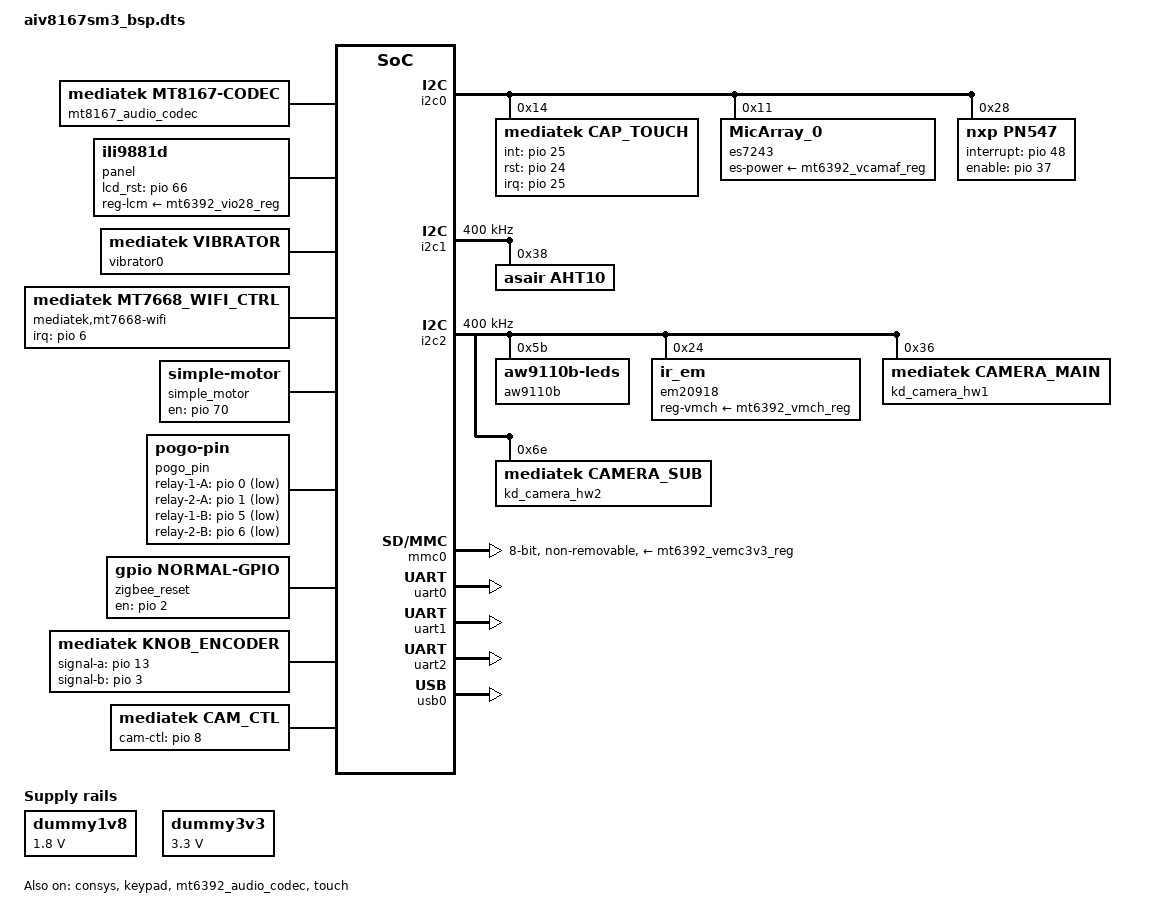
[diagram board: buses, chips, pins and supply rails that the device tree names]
/*
 * Copyright (c) 2014-2015 MediaTek Inc.
 *
 * This program is free software; you can redistribute it and/or modify
 * it under the terms of the GNU General Public License version 2 as
 * published by the Free Software Foundation.
 *
 * This program is distributed in the hope that it will be useful,
 * MERCHANTABILITY or FITNESS FOR A PARTICULAR PURPOSE.  See the
 * GNU General Public License for more details.
 */

#include <generated/autoconf.h>
/dts-v1/;

#ifdef CONFIG_MTK_DTBO_FEATURE
/plugin/;
#include <dt-bindings/clock/mt8167-clk.h>
#include <dt-bindings/interrupt-controller/irq.h>
#include <dt-bindings/leds/leds-aw9110b.h>
#include <dt-bindings/interrupt-controller/arm-gic.h>
#include "mt8167-pinfunc.h"
#define ROOT_NODE &odm
#else
#include "mt8167.dtsi"
#include "mt6392.dtsi"
#define ROOT_NODE /

#endif
#include "aiv8167sm3_bsp_bat_setting.dtsi"
#include <dt-bindings/gpio/gpio.h>

ROOT_NODE {
	dummy1v8: fixedregulator@0 {
		compatible = "regulator-fixed";
		regulator-name = "mmc_io";
		regulator-min-microvolt = <1800000>;
		regulator-max-microvolt = <1800000>;
		regulator-always-on;
	};

	dummy3v3: fixedregulator@1 {
		compatible = "regulator-fixed";
		regulator-name = "mmc_power";
		regulator-min-microvolt = <3300000>;
		regulator-max-microvolt = <3300000>;
		regulator-always-on;
	};

	mtcpufreq {
		compatible = "mediatek,mt8167-cpufreq";
	};

	mt8167_audio_codec: mt8167_audio_codec {
		compatible = "mediatek,mt8167-codec";
		clocks = <&topckgen CLK_TOP_AUDIO>;
		clock-names = "bus";
		mediatek,afe-regmap = <&afe>;
		mediatek,apmixedsys-regmap = <&apmixedsys>;
		mediatek,pwrap-regmap = <&pwrap>;
		mediatek,speaker-mode = <0>; /* 0(CLASSD) 1(CLASSAB) */
		mediatek,dmic-wire-mode = <1>; /* 0(ONE_WIRE) 1(TWO_WIRE) */
		mediatek,headphone-cap-sel = <1>; /* 0(10UF) 1(22UF) 2(33UF) 3(47UF) */
	};

	panel: panel@0 {
		compatible = "ili9881d";
		gpio_lcd_rst = <&pio 66 0>;
		reg-lcm-supply = <&mt6392_vio28_reg>;
		status = "okay";
	};

	sound: sound {
		compatible = "mediatek,mt8167-mt6392";
		mediatek,platform = <&afe>;
		mediatek,hp-spk-amp-warmup-time-us = <40000>;
		pinctrl-names = "default", "extamp_on", "extamp_off";
		pinctrl-0 = <&aud_pins_default>;
		pinctrl-1 = <&aud_pins_extamp_on>;
		pinctrl-2 = <&aud_pins_extamp_off>;
		status = "okay";
	};
	vibrator0:vibrator@0 {
		compatible = "mediatek,vibrator";
		vib_timer = <25>;
		vib_limit = <9>;
		vib_vol= <5>;
	};

	/* WiFi */
	mediatek,mt7668-wifi {
		compatible = "mediatek,mt7668_wifi_ctrl";
		interrupt-parent = <&pio>;
		interrupts = <6 IRQ_TYPE_EDGE_FALLING>, /* WOW IRQ */
				<5 IRQ_TYPE_EDGE_FALLING>; /* BEACON TSF IRQ */
		status = "okay";
	};

	simple_motor {
		compatible = "simple-motor";
		pinctrl-names = "default", "simple_motor";
		pinctrl-0 = <&motor_pins_default>;
		en-gpio = <&pio 70 GPIO_ACTIVE_HIGH>;
		status = "okay";
	};
	
	pogo_pin {
		compatible = "pogo-pin";

		pinctrl-names = "default", "pin_1A", "pin_2A", "pin_1B", "pin_2B";
		pinctrl-0 = <&pogo_pins_default>;
		pinctrl-1 = <&pogo_pin_1A>;
		pinctrl-2 = <&pogo_pin_2A>;
		pinctrl-3 = <&pogo_pin_1B>;
		pinctrl-4 = <&pogo_pin_2B>;

		relay-1-A-gpio = <&pio 0 GPIO_ACTIVE_LOW>;
		relay-2-A-gpio = <&pio 1 GPIO_ACTIVE_LOW>;
		relay-1-B-gpio = <&pio 5 GPIO_ACTIVE_LOW>;
		relay-2-B-gpio = <&pio 6 GPIO_ACTIVE_LOW>;
		status = "okay";
	};

	zigbee_reset {
		status = "okay";
		compatible = "gpio,normal-gpio";
		pinctrl-names = "default", "zigbee-reset";
		pinctrl-0 = <&zigbee_pins_default>;
		en-gpio = <&pio 2 GPIO_ACTIVE_HIGH>;
		cname = "zigbee";
	};
    
	knob_encoder:knob_encoder@0 {
		compatible = "mediatek,knob_encoder";
		pinctrl-names = "default";
		pinctrl-0 = <&kno_pins_default>;
		signal-a-gpio = <&pio 13 GPIO_SINGLE_ENDED>;
		signal-b-gpio = <&pio 3 GPIO_SINGLE_ENDED>;
	};

	cam_ctl:cam_ctl@0 {
		compatible = "mediatek,cam_ctl";
		cam-ctl-gpio = <&pio 8 GPIO_SINGLE_ENDED>;
	};

	mediatek_m_hmdy_pl {
		compatible = "mediatek,m_hmdy_pl";
	};

	mediatek_humidity {
		compatible = "mediatek,humidity";
	};

	mediatek_alsps {
		compatible = "mediatek,als_ps";
	};

};

&afe {
	/* 0(HDMI) 1(I2S) 2(TDM) */
	mediatek,tdm-out-mode = <0>;
	/*0(Spearated Mode) 1(Share Mode)*/
	mediatek,i2s-clock-modes = <1 1>;
	/*overwrite original sram layout*/
	reg = <0 0x11140000 0 0x1000>,
	      <0 0x11141000 0 0x9000>,
	      <0 0x100000 0 0xdc00>;
};

&consys {
	pinctrl-names = "default", "gps_lna_state_init", "gps_lna_state_oh", "gps_lna_state_ol";
	pinctrl-0 = <&consys_pins_default>;
	pinctrl-1 = <&gpslna_pins_init>;
	pinctrl-2 = <&gpslna_pins_oh>;
	pinctrl-3 = <&gpslna_pins_ol>;
	vcn18-supply = <&mt6392_vcn18_reg>;
	vcn35-supply = <&mt6392_vcn35_reg>;
	status = "okay";
};

&cpu0 {
	proc-supply = <&mt6392_vproc_reg>;
};

&cpu1 {
	proc-supply = <&mt6392_vproc_reg>;
};

&cpu2 {
	proc-supply = <&mt6392_vproc_reg>;
};

&cpu3 {
	proc-supply = <&mt6392_vproc_reg>;
};

&fstab {
	vendor {
		compatible = "android,vendor";
		dev = "/dev/block/platform/soc/11120000.mmc/by-name/vendor";
		type = "ext4";
		mnt_flags = "ro";
		fsmgr_flags = "wait,verify";
	};
};

&i2c0 {
	clock-div = <2>;
	pinctrl-names = "default";
	pinctrl-0 = <&i2c0_pins_a>;
	status = "okay";

	cap_touch@14 {
		compatible = "mediatek,cap_touch";
		reg = <0x14>;
		interrupt-parent = <&pio>;
		interrupts = <25 IRQ_TYPE_EDGE_FALLING>;
		int-gpio = <&pio 25 0>;
		rst-gpio = <&pio 24 0>;
	};

	es7243@11 {
		compatible = "MicArray_0";
		reg = <0x11>;
		es-power-supply = <&mt6392_vcamaf_reg>;
		pinctrl-names = "default", "mclk_high", "mclk_low";
		pinctrl-0 = <&tdm_mclk_default>;
		pinctrl-1 = <&tdm_mclk_high>;
		pinctrl-2 = <&tdm_mclk_low>;
	};

	pn547@28 {
		compatible = "nxp,pn547";
		status = "okay";
		reg = <0x28>;
		interrupt-gpios = <&pio 48 0>;
		enable-gpios = <&pio 37 0>;
	};

};

&i2c1 {
	clock-div = <2>;
	pinctrl-names = "default";
	pinctrl-0 = <&i2c1_pins_a>;
	status = "okay";
	clock-frequency = <400000>;

	aht10@38 {
		compatible              = "asair,aht10";
		i2c_num					= <2>;
		i2c_addr				= <0x38 0 0 0>;
		reg                     = <0x38>;
		is_batch_supported_hmdy = <0>;
		is_batch_supported_temp = <0>;
 	};
};

&i2c2 {
	clock-div = <2>;
	pinctrl-names = "default";
	pinctrl-0 = <&i2c2_pins_a>;
	status = "okay";
	clock-frequency = <400000>;

	aw9110b: aw9110b@5b {
		compatible = "aw9110b-leds";
		gpio_out_drv = <AW9110B_TOTEM_POLE>;
		reg = <0x5b>;
		#address-cells = <1>;
		#size-cells = <0>;
		status = "okay";

		led1: led@1 {
				label = "led_cam_g";
				reg = <1>;
				flags = <AW_MAKE_FLAGS(AW_GROUPB, AW_OUT0, AW_MODE_LED, 255)>;
				led-max-microamp = <10000>;
				linux,default-trigger = "default-on";
		};

		led2: led@2 {
				label = "led_cam_r";
				reg = <2>;
				flags = <AW_MAKE_FLAGS(AW_GROUPB, AW_OUT1, AW_MODE_LED, 255)>;
				led-max-microamp = <10000>;
				linux,default-trigger = "default-on";
		};

		led3: led@3 {
				label = "led_cam_b";
				reg = <3>;
				flags = <AW_MAKE_FLAGS(AW_GROUPB, AW_OUT2, AW_MODE_LED, 255)>;
				led-max-microamp = <10000>;
				linux,default-trigger = "default-on";
		};

		led4: led@4 {
				label = "led_knob_r";
				reg = <4>;
				flags = <AW_MAKE_FLAGS(AW_GROUPB, AW_OUT3, AW_MODE_LED, 255)>;
				led-max-microamp = <10000>;
				linux,default-trigger = "default-on";
		};

		led5: led@5 {
				label = "led_knob_g";
				reg = <5>;
				flags = <AW_MAKE_FLAGS(AW_GROUPA, AW_OUT4, AW_MODE_LED, 255)>;
				led-max-microamp = <10000>;
				linux,default-trigger = "default-on";
		};

		led6: led@6 {
				label = "led_knob_b";
				reg = <6>;
				flags = <AW_MAKE_FLAGS(AW_GROUPA, AW_OUT5, AW_MODE_LED, 255)>;
				led-max-microamp = <10000>;
				linux,default-trigger = "default-on";
		};

		led7: led@7 {
				label = "led_key1";
				reg = <7>;
				flags = <AW_MAKE_FLAGS(AW_GROUPA, AW_OUT6, AW_MODE_LED, 255)>;
				led-max-microamp = <10000>;
				linux,default-trigger = "default-on";
		};

		led8: led@8 {
				label = "led_key2";
				reg = <8>;
				flags = <AW_MAKE_FLAGS(AW_GROUPA, AW_OUT7, AW_MODE_LED, 255)>;
				led-max-microamp = <10000>;
				linux,default-trigger = "default-on";
		};

		led9: led@9 {
				label = "led_key3";
				reg = <9>;
				flags = <AW_MAKE_FLAGS(AW_GROUPA, AW_OUT8, AW_MODE_LED, 255)>;
				led-max-microamp = <10000>;
				linux,default-trigger = "default-on";
		};

		led10: led@10 {
				label = "led_key4";
				reg = <10>;
				flags = <AW_MAKE_FLAGS(AW_GROUPA, AW_OUT9, AW_MODE_LED, 255)>;
				led-max-microamp = <10000>;
				linux,default-trigger = "default-on";
		};

	};
	    
	em20918@24 {
		compatible				= "ir_em";
		reg-vmch-supply = <&mt6392_vmch_reg>;
		i2c_num					= <3>;
		i2c_addr				= <0x24 0 0 0>;
		reg                     = <0x24>;
		polling_mode_ps			= <1>;
		polling_mode_als		= <1>;
		is_batch_supported_ps	= <0>;
		is_batch_supported_als	= <0>;
		};
	
   	kd_camera_hw1@36 {
		compatible = "mediatek,camera_main";
		reg = <0x36>;
	};

	kd_camera_hw2@6e {
		compatible = "mediatek,camera_sub";
		reg = <0x6e>;
	};

};

/* Main Cam */
&kd_camera_hw1 {
	reg-vcama-supply = <&mt6392_vcama_reg>;		/* AVDD */
	reg-vcamd-supply = <&mt6392_vcamd_reg>;		/* DVDD */
	reg-vcamio-supply = <&mt6392_vcamio_reg>;	/* DOVDD */
	//reg-vcamaf-supply = <&mt6392_vcamaf_reg>;	/* AFVDD */
};

/* Sub Cam */
/* Same power pins as Main, actually, it can be commented */
&kd_camera_hw2 {
	reg-vcama-supply = <&mt6392_vcama_reg>;		/* AVDD */
	reg-vcamd-supply = <&mt6392_vcamd_reg>;		/* DVDD */
	reg-vcamio-supply = <&mt6392_vcamio_reg>;	/* DOVDD */
	//reg-vcamaf-supply = <&mt6392_vcamaf_reg>;	/* AFVDD */
	
	cam1_rst = <&pio 40 1>;
	cam1_pdn = <&pio 68 0>;
};

&keypad {
	pinctrl-names = "default";
	pinctrl-0 = <&kpd_pins_default>;
	status = "okay";
	mediatek,kpd-key-debounce = <1024>;
	mediatek,kpd-sw-pwrkey = <116>;
	mediatek,kpd-hw-pwrkey = <8>;
	mediatek,kpd-sw-rstkey  = <0>;
	mediatek,kpd-hw-rstkey = <17>;
	mediatek,kpd-use-extend-type = <0>;
	/*HW Keycode [0~71] -> Linux Keycode*/
	mediatek,kpd-hw-map-num = <72>;
	mediatek,kpd-hw-init-map = <115 102 0 0 0 0 0 0 0 0 0 0 0 0 0 0 0 0 0 0 0 0 0 0
			0 0 0 0 0 0 0 0 0 0 0 0 0 0 0 0 0 0 0 0 0 0 0 0
			0 0 0 0 0 0 0 0 0 0 0 0 0 0 0 0 0 0 0 0 0 0 0 0 >;
	mediatek,kpd-pwrkey-eint-gpio = <0>;
	mediatek,kpd-pwkey-gpio-din  = <0>;
	mediatek,kpd-hw-dl-key0 = <0>;
	mediatek,kpd-hw-dl-key1 = <17>;
	mediatek,kpd-hw-dl-key2 = <8>;
	mediatek,kpd-hw-recovery-key = <17>;
	mediatek,kpd-hw-factory-key  = <0>;
};

&mmc0 {
	pinctrl-names = "default", "state_uhs";
	pinctrl-0 = <&mmc0_pins_default>;
	pinctrl-1 = <&mmc0_pins_uhs>;
	status = "okay";
	bus-width = <8>;
	max-frequency = <200000000>;
	cap-mmc-highspeed;
	mmc-hs200-1_8v;
	cap-mmc-hw-reset;
	vmmc-supply = <&mt6392_vemc3v3_reg>;
	vqmmc-supply = <&mt6392_vio18_reg>;
	non-removable;
};

&mt6392_audio_codec {
	mediatek,speaker-mode = <0>; /* 0(CLASSD) 1(CLASSAB) */
	status = "okay";
};

&mt6392_vm_reg {
       regulator-always-on;
       regulator-boot-on;
};

&pio {
	pinctrl-names = "default";
	pinctrl-0 = <&state_default>;

	state_default:pinconf_default {
	};

	kno_pins_default:kno_pins_default {
		pins_cmd_dat {
			pinmux = <MT8167_PIN_3_EINT3__FUNC_GPIO3>,
			<MT8167_PIN_13_EINT13__FUNC_GPIO13>;
			bias-pull-up;
		};
	};

	pogo_pins_default: pogo {
		pins_cmd_dat {
			pinmux = <MT8167_PIN_0_EINT0__FUNC_GPIO0>,
			<MT8167_PIN_1_EINT1__FUNC_GPIO1>,
			<MT8167_PIN_5_EINT5__FUNC_GPIO5>,
			<MT8167_PIN_6_EINT6__FUNC_GPIO6>;
		};
	};
	
	pogo_pin_1A: pin1A {
		pins_cmd_dat {
			pins = <MT8167_PIN_0_EINT0__FUNC_GPIO0>;
		};
	};

	pogo_pin_2A: pin2A {
		pins_cmd_dat {
			pins = <MT8167_PIN_1_EINT1__FUNC_GPIO1>;
		};
	}; 

	pogo_pin_1B: pin1B {
		pins_cmd_dat {
			pins = <MT8167_PIN_5_EINT5__FUNC_GPIO5>;
		};
	};

	pogo_pin_2B: pin2B {
		pins_cmd_dat {
			pins = <MT8167_PIN_6_EINT6__FUNC_GPIO6>;
		};
	};

	motor_pins_default: motor {
		pins_cmd_dat {
			pins = <MT8167_PIN_70_MSDC2_DAT0__FUNC_GPIO70>;
		};
	};
	
	zigbee_pins_default: zigbee {
		pins_cmd_dat {
			pins = <MT8167_PIN_2_EINT2__FUNC_GPIO2>;
		};
	};
	
	aud_pins_default: audiodefault {
			pins_extamp_default {
			pins = <MT8167_PIN_51_SPI_MO__FUNC_GPIO51>;
			slew-rate = <1>;
			output-low;
		};
	};

	aud_pins_extamp_on: audexampon {
	pins_cmd_dat {
			pins = <MT8167_PIN_51_SPI_MO__FUNC_GPIO51>;/**/
			slew-rate = <1>;
			output-high;
		};
	};

	aud_pins_extamp_off: audexampoff {
	pins_cmd_dat {
			pins = <MT8167_PIN_51_SPI_MO__FUNC_GPIO51>;/**/
			slew-rate = <1>;
			output-low;
		};
	};

	tdm_mclk_default:tdm_mclk_default {
	pins_cmd_dat {
			pinmux = <MT8167_PIN_14_EINT14__FUNC_TDM_RX_MCK>,
					 <MT8167_PIN_15_EINT15__FUNC_TDM_RX_BCK>,
					 <MT8167_PIN_16_EINT16__FUNC_TDM_RX_LRCK>,
					 <MT8167_PIN_17_EINT17__FUNC_TDM_RX_DI>;
				 bias-pull-up;
		};
	};
  	tdm_mclk_high:tdm_mclk_high {
	pins_cmd_dat {
		pins = <MT8167_PIN_14_EINT14__FUNC_GPIO14>,
			   <MT8167_PIN_15_EINT15__FUNC_GPIO15>,
			   <MT8167_PIN_16_EINT16__FUNC_GPIO16>,
			   <MT8167_PIN_17_EINT17__FUNC_GPIO17>;/**/
			slew-rate = <1>;
			output-high;
		};
	};
  	tdm_mclk_low:tdm_mclk_low {
	pins_cmd_dat {
		pins = <MT8167_PIN_14_EINT14__FUNC_GPIO14>,
			   <MT8167_PIN_15_EINT15__FUNC_GPIO15>,
			   <MT8167_PIN_16_EINT16__FUNC_GPIO16>,
			   <MT8167_PIN_17_EINT17__FUNC_GPIO17>;/**/
			slew-rate = <1>;
			output-low;
		};
	};

	/* CONSYS GPIO Settings - Start */
	consys_pins_default: default {

	};
	/* CONSYS GPIO Settings - End */

	CTP_pins_default: eint0default {
		pins_cmd_dat {
			pins = <MT8167_PIN_25_EINT25__FUNC_GPIO25>;
			slew-rate = <0>;
			bias-disable;
		};
	};

	CTP_pins_eint_as_int: eint@0 {
		pins_cmd_dat {
			pins = <MT8167_PIN_25_EINT25__FUNC_GPIO25>;
			slew-rate = <0>;
			bias-disable;
		};
	};

	CTP_pins_eint_output0: eintoutput0 {
		pins_cmd_dat {
			pins = <MT8167_PIN_25_EINT25__FUNC_GPIO25>;
			slew-rate = <1>;
			output-low;
		};
	};

	CTP_pins_eint_output1: eintoutput1 {
		pins_cmd_dat {
			pins = <MT8167_PIN_25_EINT25__FUNC_GPIO25>;
			slew-rate = <1>;
			output-high;
		};
	};

	CTP_pins_rst_output0: rstoutput0 {
		pins_cmd_dat {
			pins = <MT8167_PIN_24_EINT24__FUNC_GPIO24>;
			slew-rate = <1>;
			output-low;
		};
	};

	CTP_pins_rst_output1: rstoutput1 {
		pins_cmd_dat {
			pins = <MT8167_PIN_24_EINT24__FUNC_GPIO24>;
			slew-rate = <1>;
			output-high;
		};
	};

	/* CONSYS GPIO Settings - Start */
	gpslna_pins_init: gpslna@0 {
	};

	gpslna_pins_oh: gpslna@1 {
	};

	gpslna_pins_ol: gpslna@2 {
	};
	/* CONSYS GPIO Settings - End */

	i2c0_pins_a: i2c0@0 {
		pins1 {
			pinmux = <MT8167_PIN_58_SDA0__FUNC_SDA0_0>,
				 <MT8167_PIN_59_SCL0__FUNC_SCL0_0>;
			bias-disable;
		};
	};

	i2c1_pins_a: i2c1@0 {
		pins1 {
			pinmux = <MT8167_PIN_52_SDA1__FUNC_SDA1_0>,
				 <MT8167_PIN_53_SCL1__FUNC_SCL1_0>;
			bias-disable;
		};
	};

	i2c2_pins_a: i2c2@0 {
		pins1 {
			pinmux = <MT8167_PIN_60_SDA2__FUNC_SDA2_0>,
				 <MT8167_PIN_61_SCL2__FUNC_SCL2_0>;
			bias-disable;
		};
	};

	kpd_pins_default: kpddefault {
		pins_cols {
			pinmux = <MT8167_PIN_42_KPCOL0__FUNC_KPCOL0>,
				 <MT8167_PIN_43_KPCOL1__FUNC_KPCOL1>;
			input-enable;
			bias-pull-up = <MTK_PUPD_SET_R1R0_01>;
		};
	};

	mmc0_pins_default: mmc0default {
		pins_cmd_dat {
			pinmux = <MT8167_PIN_120_MSDC0_DAT0__FUNC_MSDC0_DAT0>,
				<MT8167_PIN_119_MSDC0_DAT1__FUNC_MSDC0_DAT1>,
				<MT8167_PIN_118_MSDC0_DAT2__FUNC_MSDC0_DAT2>,
				<MT8167_PIN_117_MSDC0_DAT3__FUNC_MSDC0_DAT3>,
				<MT8167_PIN_113_MSDC0_DAT4__FUNC_MSDC0_DAT4>,
				<MT8167_PIN_112_MSDC0_DAT5__FUNC_MSDC0_DAT5>,
				<MT8167_PIN_111_MSDC0_DAT6__FUNC_MSDC0_DAT6>,
				<MT8167_PIN_110_MSDC0_DAT7__FUNC_MSDC0_DAT7>,
				<MT8167_PIN_115_MSDC0_CMD__FUNC_MSDC0_CMD>;
			input-enable;
			bias-pull-up;
		};

		pins_clk {
			pinmux = <MT8167_PIN_116_MSDC0_CLK__FUNC_MSDC0_CLK>;
			bias-pull-down;
		};

		pins_rst {
			pinmux = <MT8167_PIN_114_MSDC0_RSTB__FUNC_MSDC0_RSTB>;
			bias-pull-up;
		};
	};

	mmc0_pins_uhs: mmc0@0{
		pins_cmd_dat {
			pinmux = <MT8167_PIN_120_MSDC0_DAT0__FUNC_MSDC0_DAT0>,
				<MT8167_PIN_119_MSDC0_DAT1__FUNC_MSDC0_DAT1>,
				<MT8167_PIN_118_MSDC0_DAT2__FUNC_MSDC0_DAT2>,
				<MT8167_PIN_117_MSDC0_DAT3__FUNC_MSDC0_DAT3>,
				<MT8167_PIN_113_MSDC0_DAT4__FUNC_MSDC0_DAT4>,
				<MT8167_PIN_112_MSDC0_DAT5__FUNC_MSDC0_DAT5>,
				<MT8167_PIN_111_MSDC0_DAT6__FUNC_MSDC0_DAT6>,
				<MT8167_PIN_110_MSDC0_DAT7__FUNC_MSDC0_DAT7>,
				<MT8167_PIN_115_MSDC0_CMD__FUNC_MSDC0_CMD>;
			input-enable;
			drive-strength = <MTK_DRIVE_6mA>;
			bias-pull-up = <MTK_PUPD_SET_R1R0_01>;
		};

		pins_clk {
			pinmux = <MT8167_PIN_116_MSDC0_CLK__FUNC_MSDC0_CLK>;
			drive-strength = <MTK_DRIVE_8mA>;
			bias-pull-down = <MTK_PUPD_SET_R1R0_10>;
		};

		pins_rst {
			pinmux = <MT8167_PIN_114_MSDC0_RSTB__FUNC_MSDC0_RSTB>;
			bias-pull-up;
		};
	};

/* USB GPIO start */
	usb0_iddig: iddig_irq_init {
		pins_cmd_dat {
			pins = <MT8167_PIN_41_KPROW1__FUNC_IDDIG>;
			slew-rate = <0>;
			bias-pull-up = <00>;
		};
	};
/* USB GPIO end */
};

&pmic {
	interrupt-parent = <&pio>;
	interrupts = <28 IRQ_TYPE_LEVEL_HIGH>;
	interrupt-controller;
	#interrupt-cells = <2>;
};

&mt6392_vio28_reg {
	/delete-property/ regulator-boot-on;
	/delete-property/ regulator-always-on;
};

&ptp_od {
	vproc-supply = <&mt6392_vproc_reg>;
	vcore-supply = <&mt6392_vcore_reg>;
};

&reserved_memory {
	#address-cells = <2>;
	#size-cells = <2>;
	ranges;

	consys-reserve-memory {
		compatible = "mediatek,consys-reserve-memory";
		no-map;
		size = <0 0x200000>;
		alignment = <0 0x200000>;
	};
};

&touch {
	vtouch-supply = <&mt6392_vgp1_reg>;
	tpd-resolution = <720 1280>;
	use-tpd-button = <0>;
	tpd-key-num = <4>;
	tpd-key-local= <139 172 158 0>;
	tpd-key-dim-local = <60 850 50 30 180 850 50 30 300 850 50 30 420 850 50 30>;
	tpd-max-touch-num = <5>;
	tpd-filter-enable = <1>;
	tpd-filter-pixel-density = <124>;
	tpd-filter-custom-prameters = <0 0 0 0 0 0 0 0 0 0 0 0>;
	tpd-filter-custom-speed = <0 0 0>;
	pinctrl-names = "default", "state_eint_as_int", "state_eint_output0", "state_eint_output1",
		"state_rst_output0", "state_rst_output1";
	pinctrl-0 = <&CTP_pins_default>;
	pinctrl-1 = <&CTP_pins_eint_as_int>;
	pinctrl-2 = <&CTP_pins_eint_output0>;
	pinctrl-3 = <&CTP_pins_eint_output1>;
	pinctrl-4 = <&CTP_pins_rst_output0>;
	pinctrl-5 = <&CTP_pins_rst_output1>;
	status = "okay";
};

&uart0 {
	status="okay";
};

&uart1 {
	status="okay";
};

&uart2 {
	status="okay";
};

&usb0 {
	pinctrl-names = "iddig_irq_init";
	pinctrl-0 = <&usb0_iddig>;
	usb-power-supply = <&mt6392_vusb_reg>;

	iddig_gpio = <&pio 41 2>;

	status = "okay";
};
